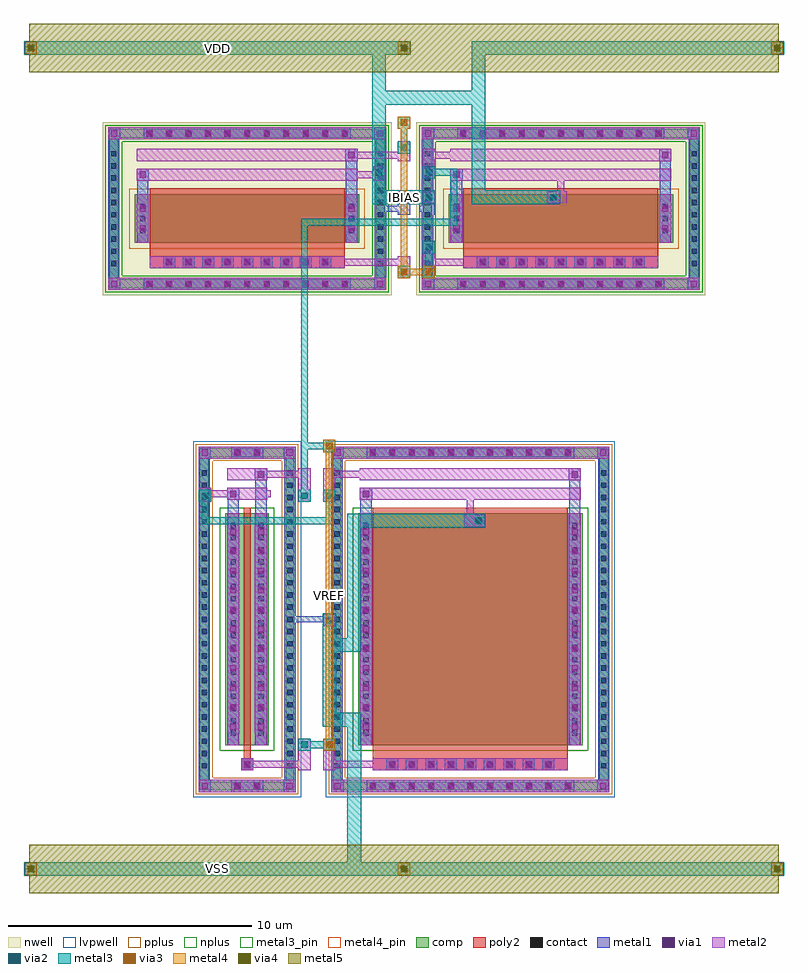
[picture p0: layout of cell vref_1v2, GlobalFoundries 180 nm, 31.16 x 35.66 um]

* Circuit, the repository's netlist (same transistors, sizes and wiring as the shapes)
* NGSPICE file created from vref_1v2.ext - technology: gf180mcuD

.subckt vref_1v2 IBIAS VREF VSS VDD
X0 VREF VREF a_n1464_428# VSS nfet_03v3 ad=7.125p pd=20.5u as=7.125p ps=20.5u w=9.5u l=0.28u
X1 IBIAS IBIAS VDD VDD pfet_03v3 ad=1.2p pd=5.2u as=1.2p ps=5.2u w=2u l=8u
X2 a_n1464_428# VREF VSS VSS nfet_03v3 ad=5.7p pd=20.2u as=5.7p ps=20.2u w=9.5u l=8u
X3 VREF IBIAS VDD VDD pfet_03v3 ad=1.2p pd=5.2u as=1.2p ps=5.2u w=2u l=8u
.ends

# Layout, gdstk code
import gdstk
lib = gdstk.Library(unit=1e-6, precision=1e-09)
def R(c, l, rs):  # rectangles x0, y0, x1, y1
    for r in rs: c.add(gdstk.rectangle(r[:2], r[2:], *l))
def A(c, l, x, y, w, h, nx, ny, dx, dy):  # array of equal rectangles
    R(c, l, [(x+i*dx, y+j*dy, x+i*dx+w, y+j*dy+h) for i in range(nx) for j in range(ny)])
def P(c, l, *ps):  # polygons
    for p in ps: c.add(gdstk.Polygon(p, *l))
nwell = (21, 0)
comp = (22, 0)
poly2 = (30, 0)
pplus = (31, 0)
nplus = (32, 0)
contact = (33, 0)
metal1 = (34, 0)
via1 = (35, 0)
metal2 = (36, 0)
via2 = (38, 0)
via3 = (40, 0)
via4 = (41, 0)
metal3 = (42, 0)
metal3_pin = (42, 10)
metal4 = (46, 0)
metal4_pin = (46, 10)
metal5 = (81, 0)
lvpwell = (204, 0)

vref_1v2 = lib.new_cell('vref_1v2')
R(vref_1v2, nwell, [(-12.36,20.59,-0.5,27.68), (0.5,20.59,12.36,27.68), (-12.2,20.75,-0.66,27.52), (0.66,20.75,12.2,27.52)])
A(vref_1v2, comp, -1.46, 0.28, 0.36, 0.36, 11, 2, 0.8, 13.67)
A(vref_1v2, comp, -8.37, 1.115, 0.36, 0.36, 1, 25, 0, 0.5)
A(vref_1v2, comp, -4.85, 1.115, 0.36, 0.36, 1, 25, 0, 0.5)
A(vref_1v2, comp, -2.93, 1.115, 0.36, 0.36, 1, 25, 0, 0.5)
A(vref_1v2, comp, 8.01, 1.115, 0.36, 0.36, 1, 25, 0, 0.5)
A(vref_1v2, comp, -10.61, 20.87, 0.36, 0.36, 11, 2, 0.8, 6.17)
A(vref_1v2, comp, 2.25, 20.87, 0.36, 0.36, 11, 2, 0.8, 6.17)
A(vref_1v2, comp, -12.08, 21.705, 0.36, 0.36, 1, 10, 0, 0.5)
A(vref_1v2, comp, -1.14, 21.705, 0.36, 0.36, 1, 10, 0, 0.5)
A(vref_1v2, comp, 0.78, 21.705, 0.36, 0.36, 1, 10, 0, 0.5)
A(vref_1v2, comp, 11.72, 21.705, 0.36, 0.36, 1, 10, 0, 0.5)
R(vref_1v2, comp, [(-7.01,0.28,-6.65,0.64), (-7.01,0.28,-5.85,0.64), (-6.21,0.28,-5.85,0.64), (-1.46,0.28,6.9,0.64), (-8.37,1.115,-8.01,13.475), (-4.85,1.115,-4.49,13.475), (-2.93,1.115,-2.57,13.475), (8.01,1.115,8.37,13.475), (-7.32,2.14,-5.54,11.64), (-1.88,2.14,7.32,11.64), (-7.01,13.95,-6.65,14.31), (-7.01,13.95,-5.85,14.31), (-6.21,13.95,-5.85,14.31), (-1.46,13.95,6.9,14.31), (-10.61,20.87,-2.25,21.23), (2.25,20.87,10.61,21.23), (-12.08,21.705,-11.72,26.565), (-1.14,21.705,-0.78,26.565), (0.78,21.705,1.14,26.565), (11.72,21.705,12.08,26.565), (-11.03,22.73,-1.83,24.73), (1.83,22.73,11.03,24.73), (-10.61,27.04,-2.25,27.4), (2.25,27.04,10.61,27.4)])
P(vref_1v2, comp, [(-0.78,27.4),(-12.08,27.4),(-12.08,21.23),(-11.72,21.23),(-11.72,27.04),(-1.14,27.04),(-1.14,21.23),(-11.72,21.23),(-12.08,21.23),(-12.08,20.87),(-0.78,20.87)],
  [(8.37,14.31),(-2.93,14.31),(-2.93,0.64),(-2.57,0.64),(-2.57,13.95),(8.01,13.95),(8.01,0.64),(-2.57,0.64),(-2.93,0.64),(-2.93,0.28),(8.37,0.28)],
  [(-4.49,14.31),(-8.37,14.31),(-8.37,0.64),(-8.01,0.64),(-8.01,13.95),(-4.85,13.95),(-4.85,0.64),(-8.01,0.64),(-8.37,0.64),(-8.37,0.28),(-4.49,0.28)],
  [(12.08,27.4),(0.78,27.4),(0.78,21.23),(1.14,21.23),(1.14,27.04),(11.72,27.04),(11.72,21.23),(1.14,21.23),(0.78,21.23),(0.78,20.87),(12.08,20.87)])
A(vref_1v2, poly2, -0.66, 1.17, 0.36, 0.36, 9, 1, 0.8, 0)
A(vref_1v2, poly2, -9.81, 21.76, 0.36, 0.36, 9, 1, 0.8, 0)
A(vref_1v2, poly2, 3.05, 21.76, 0.36, 0.36, 9, 1, 0.8, 0)
R(vref_1v2, poly2, [(-6.68,1.1,-6.18,1.6), (-1.28,1.1,6.72,1.6), (-6.61,1.17,-6.25,1.53), (-6.57,1.6,-6.29,1.9), (-1.28,1.6,6.72,1.9), (-6.57,1.9,-6.29,11.88), (-1.28,1.9,6.72,11.88), (-10.43,21.69,-2.43,22.19), (2.43,21.69,10.43,22.19), (-10.43,22.19,-2.43,22.49), (2.43,22.19,10.43,22.49), (-10.43,22.49,-2.43,24.97), (2.43,22.49,10.43,24.97)])
R(vref_1v2, pplus, [(-11.26,22.5,-1.6,24.96), (1.6,22.5,11.26,24.96)])
P(vref_1v2, pplus, [(8.53,14.47),(-3.09,14.47),(-3.09,0.8),(-2.41,0.8),(-2.41,13.79),(7.85,13.79),(7.85,0.8),(-2.41,0.8),(-3.09,0.8),(-3.09,0.12),(8.53,0.12)],
  [(-4.33,14.47),(-8.53,14.47),(-8.53,0.8),(-7.85,0.8),(-7.85,13.79),(-5.01,13.79),(-5.01,0.8),(-7.85,0.8),(-8.53,0.8),(-8.53,0.12),(-4.33,0.12)])
R(vref_1v2, nplus, [(-7.55,1.91,-5.31,11.87), (-2.11,1.91,7.55,11.87)])
P(vref_1v2, nplus, [(-0.62,27.56),(-12.24,27.56),(-12.24,21.39),(-11.56,21.39),(-11.56,26.88),(-1.3,26.88),(-1.3,21.39),(-11.56,21.39),(-12.24,21.39),(-12.24,20.71),(-0.62,20.71)],
  [(12.24,27.56),(0.62,27.56),(0.62,21.39),(1.3,21.39),(1.3,26.88),(11.56,26.88),(11.56,21.39),(1.3,21.39),(0.62,21.39),(0.62,20.71),(12.24,20.71)])
A(vref_1v2, contact, -1.39, 0.35, 0.22, 0.22, 11, 2, 0.8, 13.67)
A(vref_1v2, contact, -8.3, 1.185, 0.22, 0.22, 1, 25, 0, 0.5)
A(vref_1v2, contact, -4.78, 1.185, 0.22, 0.22, 1, 25, 0, 0.5)
A(vref_1v2, contact, -2.86, 1.185, 0.22, 0.22, 1, 25, 0, 0.5)
A(vref_1v2, contact, 8.08, 1.185, 0.22, 0.22, 1, 25, 0, 0.5)
A(vref_1v2, contact, -0.59, 1.24, 0.22, 0.22, 9, 1, 0.8, 0)
A(vref_1v2, contact, -7.11, 2.53, 0.22, 0.22, 1, 18, 0, 0.5)
A(vref_1v2, contact, -5.97, 2.53, 0.22, 0.22, 1, 18, 0, 0.5)
A(vref_1v2, contact, -1.67, 2.53, 0.22, 0.22, 1, 18, 0, 0.5)
A(vref_1v2, contact, 6.89, 2.53, 0.22, 0.22, 1, 18, 0, 0.5)
A(vref_1v2, contact, -10.54, 20.94, 0.22, 0.22, 11, 2, 0.8, 6.17)
A(vref_1v2, contact, 2.32, 20.94, 0.22, 0.22, 11, 2, 0.8, 6.17)
A(vref_1v2, contact, -12.01, 21.775, 0.22, 0.22, 1, 10, 0, 0.5)
A(vref_1v2, contact, -1.07, 21.775, 0.22, 0.22, 1, 10, 0, 0.5)
A(vref_1v2, contact, 0.85, 21.775, 0.22, 0.22, 1, 10, 0, 0.5)
A(vref_1v2, contact, 11.79, 21.775, 0.22, 0.22, 1, 10, 0, 0.5)
A(vref_1v2, contact, -9.74, 21.83, 0.22, 0.22, 9, 1, 0.8, 0)
A(vref_1v2, contact, 3.12, 21.83, 0.22, 0.22, 9, 1, 0.8, 0)
A(vref_1v2, contact, -10.82, 23.12, 0.22, 0.22, 1, 3, 0, 0.5)
A(vref_1v2, contact, -2.26, 23.12, 0.22, 0.22, 1, 3, 0, 0.5)
A(vref_1v2, contact, 2.04, 23.12, 0.22, 0.22, 1, 3, 0, 0.5)
A(vref_1v2, contact, 10.6, 23.12, 0.22, 0.22, 1, 3, 0, 0.5)
R(vref_1v2, contact, [(-6.94,0.35,-6.72,0.57), (-6.14,0.35,-5.92,0.57), (-6.54,1.24,-6.32,1.46), (-6.94,14.02,-6.72,14.24), (-6.14,14.02,-5.92,14.24)])
A(vref_1v2, metal1, -1.53, 0.21, 0.5, 0.5, 11, 2, 0.8, 13.67)
A(vref_1v2, metal1, -8.42, 1.065, 0.46, 0.46, 1, 25, 0, 0.5)
A(vref_1v2, metal1, -4.9, 1.065, 0.46, 0.46, 1, 25, 0, 0.5)
A(vref_1v2, metal1, -2.98, 1.065, 0.46, 0.46, 1, 25, 0, 0.5)
A(vref_1v2, metal1, 7.96, 1.065, 0.46, 0.46, 1, 25, 0, 0.5)
A(vref_1v2, metal1, -0.73, 1.1, 0.5, 0.5, 9, 1, 0.8, 0)
A(vref_1v2, metal1, -7.23, 2.41, 0.46, 0.46, 1, 18, 0, 0.5)
A(vref_1v2, metal1, -6.09, 2.41, 0.46, 0.46, 1, 18, 0, 0.5)
A(vref_1v2, metal1, -1.79, 2.41, 0.46, 0.46, 1, 18, 0, 0.5)
A(vref_1v2, metal1, 6.77, 2.41, 0.46, 0.46, 1, 18, 0, 0.5)
A(vref_1v2, metal1, -7.25, 2.64, 0.5, 0.5, 1, 11, 0, 0.8)
A(vref_1v2, metal1, -6.11, 2.64, 0.5, 0.5, 1, 11, 0, 0.8)
A(vref_1v2, metal1, -1.81, 2.64, 0.5, 0.5, 1, 11, 0, 0.8)
A(vref_1v2, metal1, 6.75, 2.64, 0.5, 0.5, 1, 11, 0, 0.8)
A(vref_1v2, metal1, -10.68, 20.8, 0.5, 0.5, 11, 2, 0.8, 6.17)
A(vref_1v2, metal1, 2.18, 20.8, 0.5, 0.5, 11, 2, 0.8, 6.17)
A(vref_1v2, metal1, -12.13, 21.655, 0.46, 0.46, 1, 10, 0, 0.5)
A(vref_1v2, metal1, -1.19, 21.655, 0.46, 0.46, 1, 10, 0, 0.5)
A(vref_1v2, metal1, 0.73, 21.655, 0.46, 0.46, 1, 10, 0, 0.5)
A(vref_1v2, metal1, 11.67, 21.655, 0.46, 0.46, 1, 10, 0, 0.5)
A(vref_1v2, metal1, -9.88, 21.69, 0.5, 0.5, 9, 1, 0.8, 0)
A(vref_1v2, metal1, 2.98, 21.69, 0.5, 0.5, 9, 1, 0.8, 0)
A(vref_1v2, metal1, -10.94, 23, 0.46, 0.46, 1, 3, 0, 0.5)
A(vref_1v2, metal1, -2.38, 23, 0.46, 0.46, 1, 3, 0, 0.5)
A(vref_1v2, metal1, 1.92, 23, 0.46, 0.46, 1, 3, 0, 0.5)
A(vref_1v2, metal1, 10.48, 23, 0.46, 0.46, 1, 3, 0, 0.5)
R(vref_1v2, metal1, [(-8.42,0.21,-7.92,0.71), (-8.42,0.21,-7.92,0.71), (-8.42,0.21,-7.96,0.64), (-7.08,0.21,-6.58,0.71), (-7.08,0.21,-5.78,0.71), (-6.28,0.21,-5.78,0.71), (-4.94,0.21,-4.44,0.71), (-4.94,0.21,-4.44,0.71), (-4.9,0.21,-4.44,0.64), (-2.98,0.21,-2.48,0.71), (-2.98,0.21,-2.48,0.71), (-2.98,0.21,-2.52,0.64), (-1.53,0.21,6.97,0.71), (7.92,0.21,8.42,0.71), (7.92,0.21,8.42,0.71), (7.96,0.21,8.42,0.64), (-8.42,0.64,-7.96,13.95), (-4.9,0.64,-4.44,13.95), (-2.98,0.64,-2.52,13.95), (7.96,0.64,8.42,13.95), (-6.68,1.1,-6.18,1.6), (-7.23,2.14,-6.77,11.64), (-6.09,2.14,-5.63,11.64), (-1.79,2.14,-1.33,11.64), (6.77,2.14,7.23,11.64), (-7.25,2.64,-6.75,11.14), (-6.11,2.64,-5.61,11.14), (-1.81,2.64,-1.31,11.14), (6.75,2.64,7.25,11.14), (-3.31,7.01,-2.81,7.55), (-3.31,7.01,-2.81,7.55), (-3.31,7.01,-2.81,7.55), (-3.31,7.01,-2.81,7.55), (-3.31,7.01,-2.81,7.51), (-4.555,7.025,-4.44,7.185), (-4.555,7.025,-4.44,7.185), (-2.98,7.025,-2.865,7.185), (-2.98,7.025,-2.865,7.185), (-2.98,7.025,-2.945,7.185), (-2.98,7.025,-2.945,7.185), (-4.555,7.185,-2.945,7.415), (-4.555,7.185,-2.945,7.415), (-3.175,7.185,-2.865,7.415), (-3.175,7.185,-2.865,7.415), (-4.555,7.415,-4.44,7.565), (-4.555,7.415,-4.44,7.565), (-2.98,7.415,-2.865,7.565), (-2.98,7.415,-2.865,7.565), (-2.98,7.415,-2.945,7.565), (-2.98,7.415,-2.945,7.565), (-2.98,7.55,-2.81,7.565), (-2.98,7.55,-2.81,7.565), (-2.98,7.55,-2.81,7.565), (-2.98,7.55,-2.81,7.565), (-7.23,11.64,-6.77,12.69), (-6.09,11.64,-5.63,13.49), (-1.79,11.64,-1.33,12.69), (6.77,11.64,7.23,13.49), (-7.25,12.19,-6.75,12.69), (-1.81,12.19,-1.31,12.69), (-6.11,12.99,-5.61,13.49), (6.75,12.99,7.25,13.49), (-8.42,13.88,-7.92,14.38), (-8.42,13.88,-7.92,14.38), (-7.08,13.88,-6.58,14.38), (-7.08,13.88,-5.78,14.38), (-6.28,13.88,-5.78,14.38), (-4.94,13.88,-4.44,14.38), (-4.94,13.88,-4.44,14.38), (-2.98,13.88,-2.48,14.38), (-2.98,13.88,-2.48,14.38), (-1.53,13.88,6.97,14.38), (7.92,13.88,8.42,14.38), (7.92,13.88,8.42,14.38), (-8.42,13.95,-7.96,14.38), (-4.9,13.95,-4.44,14.38), (-2.98,13.95,-2.52,14.38), (7.96,13.95,8.42,14.38), (-12.13,20.8,-11.63,21.3), (-12.13,20.8,-11.63,21.3), (-12.13,20.8,-11.67,21.23), (-10.68,20.8,-2.18,21.3), (-1.23,20.8,-0.73,21.3), (-1.23,20.8,-0.73,21.3), (-1.19,20.8,-0.73,21.23), (0.73,20.8,1.23,21.3), (0.73,20.8,1.23,21.3), (0.73,20.8,1.19,21.23), (2.18,20.8,10.68,21.3), (11.63,20.8,12.13,21.3), (11.63,20.8,12.13,21.3), (11.67,20.8,12.13,21.23), (-12.13,21.23,-11.67,27.04), (-1.19,21.23,-0.73,27.04), (0.73,21.23,1.19,27.04), (11.67,21.23,12.13,27.04), (-10.94,22.73,-10.48,24.73), (-2.38,22.73,-1.92,24.73), (1.92,22.73,2.38,24.73), (10.48,22.73,10.94,24.73), (-10.96,23.08,-10.46,23.58), (-10.96,23.08,-10.46,24.38), (-2.4,23.08,-1.9,23.58), (-2.4,23.08,-1.9,24.38), (1.9,23.08,2.4,23.58), (1.9,23.08,2.4,24.38), (10.46,23.08,10.96,23.58), (10.46,23.08,10.96,24.38), (0.77,23.615,1.19,23.88), (-10.96,23.88,-10.46,24.38), (-2.4,23.88,-1.9,24.38), (-0.25,23.88,0.25,24.85), (0.77,23.88,1.27,24.85), (1.9,23.88,2.4,24.38), (10.46,23.88,10.96,24.38), (-0.845,24.015,0.115,24.245), (0.615,24.015,1.135,24.245), (-0.25,24.35,0.25,24.85), (0.77,24.35,1.27,24.85), (-10.94,24.73,-10.48,25.78), (-2.38,24.73,-1.92,26.58), (1.92,24.73,2.38,25.78), (10.48,24.73,10.94,26.58), (-10.96,25.28,-10.46,25.78), (1.9,25.28,2.4,25.78), (-2.4,26.08,-1.9,26.58), (10.46,26.08,10.96,26.58), (-12.13,26.97,-11.63,27.47), (-12.13,26.97,-11.63,27.47), (-10.68,26.97,-2.18,27.47), (-1.23,26.97,-0.73,27.47), (-1.23,26.97,-0.73,27.47), (0.73,26.97,1.23,27.47), (0.73,26.97,1.23,27.47), (2.18,26.97,10.68,27.47), (11.63,26.97,12.13,27.47), (11.63,26.97,12.13,27.47), (-12.13,27.04,-11.67,27.47), (-1.19,27.04,-0.73,27.47), (0.73,27.04,1.19,27.47), (11.67,27.04,12.13,27.47)])
A(vref_1v2, via1, -1.41, 0.33, 0.26, 0.26, 11, 2, 0.8, 13.67)
A(vref_1v2, via1, -0.61, 1.22, 0.26, 0.26, 9, 1, 0.8, 0)
A(vref_1v2, via1, -7.13, 2.76, 0.26, 0.26, 1, 11, 0, 0.8)
A(vref_1v2, via1, -5.99, 2.76, 0.26, 0.26, 1, 11, 0, 0.8)
A(vref_1v2, via1, -1.69, 2.76, 0.26, 0.26, 1, 11, 0, 0.8)
A(vref_1v2, via1, 6.87, 2.76, 0.26, 0.26, 1, 11, 0, 0.8)
A(vref_1v2, via1, -10.56, 20.92, 0.26, 0.26, 11, 2, 0.8, 6.17)
A(vref_1v2, via1, 2.3, 20.92, 0.26, 0.26, 11, 2, 0.8, 6.17)
A(vref_1v2, via1, -9.76, 21.81, 0.26, 0.26, 9, 1, 0.8, 0)
A(vref_1v2, via1, 3.1, 21.81, 0.26, 0.26, 9, 1, 0.8, 0)
R(vref_1v2, via1, [(-8.3,0.33,-8.04,0.59), (-6.96,0.33,-6.7,0.59), (-6.16,0.33,-5.9,0.59), (-4.82,0.33,-4.56,0.59), (-2.86,0.33,-2.6,0.59), (8.04,0.33,8.3,0.59), (-6.56,1.22,-6.3,1.48), (-3.19,7.13,-2.93,7.39), (-7.13,12.31,-6.87,12.57), (-1.69,12.31,-1.43,12.57), (-5.99,13.11,-5.73,13.37), (6.87,13.11,7.13,13.37), (-8.3,14,-8.04,14.26), (-6.96,14,-6.7,14.26), (-6.16,14,-5.9,14.26), (-4.82,14,-4.56,14.26), (-2.86,14,-2.6,14.26), (8.04,14,8.3,14.26), (-12.01,20.92,-11.75,21.18), (-1.11,20.92,-0.85,21.18), (0.85,20.92,1.11,21.18), (11.75,20.92,12.01,21.18), (-10.84,23.2,-10.58,23.46), (-2.28,23.2,-2.02,23.46), (2.02,23.2,2.28,23.46), (10.58,23.2,10.84,23.46), (-10.84,24,-10.58,24.26), (-2.28,24,-2.02,24.26), (2.02,24,2.28,24.26), (10.58,24,10.84,24.26), (-0.13,24.47,0.13,24.73), (0.89,24.47,1.15,24.73), (-10.84,25.4,-10.58,25.66), (2.02,25.4,2.28,25.66), (-2.28,26.2,-2.02,26.46), (10.58,26.2,10.84,26.46), (-12.01,27.09,-11.75,27.35), (-1.11,27.09,-0.85,27.35), (0.85,27.09,1.11,27.35), (11.75,27.09,12.01,27.35)])
A(vref_1v2, metal2, -1.53, 0.21, 0.5, 0.5, 11, 2, 0.8, 13.67)
A(vref_1v2, metal2, -0.73, 1.1, 0.5, 0.5, 9, 1, 0.8, 0)
A(vref_1v2, metal2, -3.31, 1.91, 0.5, 0.5, 1, 3, 0, 5.1)
A(vref_1v2, metal2, -7.25, 2.64, 0.5, 0.5, 1, 11, 0, 0.8)
A(vref_1v2, metal2, -6.11, 2.64, 0.5, 0.5, 1, 11, 0, 0.8)
A(vref_1v2, metal2, -1.81, 2.64, 0.5, 0.5, 1, 11, 0, 0.8)
A(vref_1v2, metal2, 6.75, 2.64, 0.5, 0.5, 1, 11, 0, 0.8)
A(vref_1v2, metal2, -10.68, 20.8, 0.5, 0.5, 11, 2, 0.8, 6.17)
A(vref_1v2, metal2, 2.18, 20.8, 0.5, 0.5, 11, 2, 0.8, 6.17)
A(vref_1v2, metal2, -9.88, 21.69, 0.5, 0.5, 9, 1, 0.8, 0)
A(vref_1v2, metal2, 2.98, 21.69, 0.5, 0.5, 9, 1, 0.8, 0)
R(vref_1v2, metal2, [(-8.42,0.21,-7.92,0.71), (-8.42,0.21,-7.92,0.71), (-8.42,0.21,-8.01,0.71), (-8.01,0.21,-4.85,0.71), (-7.08,0.21,-6.58,0.71), (-6.28,0.21,-5.78,0.71), (-4.94,0.21,-4.44,0.71), (-4.94,0.21,-4.44,0.71), (-4.85,0.21,-4.44,0.71), (-2.98,0.21,-2.48,0.71), (-2.98,0.21,-2.48,0.71), (-2.98,0.21,-2.57,0.71), (-2.57,0.21,8.01,0.71), (7.92,0.21,8.42,0.71), (7.92,0.21,8.42,0.71), (8.01,0.21,8.42,0.71), (-6.68,1.1,-6.18,1.6), (-6.68,1.1,-6.18,1.6), (-4.33,1.1,-3.83,2.41), (-3.31,1.1,-2.81,2.41), (-1.28,1.1,6.72,1.6), (-6.32,1.21,-3.94,1.49), (-3.2,1.21,-1.14,1.49), (-4.33,1.91,-3.83,2.41), (-7.25,2.14,-6.75,11.64), (-6.11,2.14,-5.61,11.64), (-1.81,2.14,-1.31,11.64), (6.75,2.14,7.25,11.64), (2.47,11.09,3.31,11.59), (2.81,11.09,3.31,11.59), (2.58,11.2,2.86,12.33), (-8.41,12.11,-7.91,12.69), (-8.41,12.11,-7.91,12.61), (-4.33,12.11,-3.83,13.49), (-4.33,12.11,-3.83,12.61), (-3.31,12.11,-2.81,13.49), (-7.25,12.19,-6.75,12.69), (-7.25,12.19,-5.61,12.69), (-1.81,12.19,-1.31,12.69), (-1.81,12.19,7.25,12.69), (-8.3,12.3,-5.47,12.58), (-7.25,12.99,-5.61,13.49), (-6.11,12.99,-5.61,13.49), (-1.81,12.99,7.25,13.49), (6.75,12.99,7.25,13.49), (-5.75,13.1,-3.94,13.38), (-3.2,13.1,-1.67,13.38), (-8.42,13.88,-7.92,14.38), (-8.42,13.88,-7.92,14.38), (-8.42,13.88,-8.01,14.38), (-8.01,13.88,-4.85,14.38), (-7.08,13.88,-6.58,14.38), (-6.28,13.88,-5.78,14.38), (-4.94,13.88,-4.44,14.38), (-4.94,13.88,-4.44,14.38), (-4.85,13.88,-4.44,14.38), (-2.98,13.88,-2.48,14.38), (-2.98,13.88,-2.48,14.38), (-2.98,13.88,-2.57,14.38), (-2.57,13.88,8.01,14.38), (7.92,13.88,8.42,14.38), (7.92,13.88,8.42,14.38), (8.01,13.88,8.42,14.38), (-12.13,20.8,-11.63,21.3), (-12.13,20.8,-11.63,21.3), (-12.13,20.8,-11.72,21.3), (-11.72,20.8,-1.14,21.3), (-1.23,20.8,-0.73,21.3), (-1.23,20.8,-0.73,21.3), (-1.14,20.8,-0.73,21.3), (0.73,20.8,1.23,21.3), (0.73,20.8,1.23,21.3), (0.73,20.8,1.14,21.3), (1.14,20.8,11.72,21.3), (11.63,20.8,12.13,21.3), (11.63,20.8,12.13,21.3), (11.72,20.8,12.13,21.3), (-0.25,21.29,0.25,22.19), (-0.25,21.29,0.25,21.79), (-10.43,21.69,-2.43,22.19), (0.77,21.69,1.27,22.81), (2.43,21.69,10.43,22.19), (-2.57,21.8,0.14,22.08), (0.88,21.8,2.57,22.08), (0.77,22.31,1.27,22.81), (-10.96,22.73,-10.46,24.73), (-2.4,22.73,-1.9,24.73), (1.9,22.73,2.4,24.73), (10.46,22.73,10.96,24.73), (-10.96,23.08,-10.46,23.58), (-2.4,23.08,-1.9,23.58), (1.9,23.08,2.4,23.58), (10.46,23.08,10.96,23.58), (-10.96,23.88,-10.46,24.38), (-2.4,23.88,-1.9,24.38), (1.9,23.88,2.4,24.38), (10.46,23.88,10.96,24.38), (-0.25,24.35,0.25,24.85), (0.77,24.35,1.27,24.85), (5.87,24.35,6.68,24.85), (5.87,24.35,6.37,24.85), (6.29,24.46,6.57,25.42), (-10.96,25.28,-10.46,25.78), (-10.96,25.28,-1.9,25.78), (-1.27,25.28,-0.77,25.87), (1.9,25.28,2.4,25.78), (1.9,25.28,10.96,25.78), (-1.27,25.37,-0.77,25.87), (0.77,25.37,1.27,26.58), (0.77,25.37,1.27,25.87), (-2.04,25.39,-0.88,25.67), (-10.96,26.08,-1.9,26.58), (-2.4,26.08,-1.9,26.58), (-0.25,26.08,0.25,26.89), (1.9,26.08,10.96,26.58), (10.46,26.08,10.96,26.58), (-2.04,26.19,0.14,26.47), (0.88,26.19,2.04,26.47), (-0.25,26.39,0.25,26.89), (-12.13,26.97,-11.63,27.47), (-12.13,26.97,-11.63,27.47), (-12.13,26.97,-11.72,27.47), (-11.72,26.97,-1.14,27.47), (-1.23,26.97,-0.73,27.47), (-1.23,26.97,-0.73,27.47), (-1.14,26.97,-0.73,27.47), (0.73,26.97,1.23,27.47), (0.73,26.97,1.23,27.47), (0.73,26.97,1.14,27.47), (1.14,26.97,11.72,27.47), (11.63,26.97,12.13,27.47), (11.63,26.97,12.13,27.47), (11.72,26.97,12.13,27.47)])
A(vref_1v2, via2, -3.19, 2.03, 0.26, 0.26, 1, 3, 0, 5.1)
R(vref_1v2, via2, [(-4.21,2.03,-3.95,2.29), (2.93,11.21,3.19,11.47), (-8.29,12.23,-8.03,12.49), (-4.21,12.23,-3.95,12.49), (-0.13,21.41,0.13,21.67), (0.89,22.43,1.15,22.69), (-0.13,24.47,0.13,24.73), (0.89,24.47,1.15,24.73), (5.99,24.47,6.25,24.73), (-1.15,25.49,-0.89,25.75), (0.89,25.49,1.15,25.75), (-0.13,26.51,0.13,26.77)])
A(vref_1v2, via3, -15.43, -3.07, 0.26, 0.26, 3, 2, 15.3, 33.66)
R(vref_1v2, via3, [(-3.19,2.03,-2.93,2.29), (-3.19,14.27,-2.93,14.53), (-0.13,21.41,0.13,21.67), (0.89,21.41,1.15,21.67), (-0.13,27.53,0.13,27.79)])
A(vref_1v2, via4, -15.43, -3.07, 0.26, 0.26, 3, 2, 15.3, 33.66)
A(vref_1v2, metal3, -15.55, -3.19, 0.5, 0.5, 3, 2, 15.3, 33.66)
A(vref_1v2, metal3, -3.31, 1.91, 0.5, 0.5, 1, 3, 0, 5.1)
R(vref_1v2, metal3, [(-15.58,-3.22,0.28,-2.66), (-2.32,-3.22,-1.76,3.46), (-0.28,-3.22,15.58,-2.66), (-4.33,1.91,-3.83,2.41), (-3.31,1.91,-2.81,2.41), (-4.22,2.02,-2.92,2.3), (-3.34,2.9,-1.76,3.46), (-3.34,2.9,-2.78,7.54), (-3.34,5.96,-1.76,6.52), (-2.32,5.96,-1.76,11.62), (-2.32,11.06,3.34,11.62), (2.81,11.09,3.31,11.59), (-8.3,11.2,-8.02,12.5), (-8.3,11.2,-2.92,11.48), (-3.2,11.2,-2.92,12.5), (-8.41,12.11,-7.91,12.61), (-4.33,12.11,-3.83,12.61), (-4.22,12.22,-3.94,23.72), (-3.31,14.15,-2.81,14.65), (-4.22,14.26,-2.92,14.54), (-0.25,21.29,0.25,21.79), (-0.25,21.29,0.25,21.79), (0.77,21.29,1.27,21.79), (0.88,21.4,1.16,22.7), (0.77,22.31,1.27,22.81), (-4.22,23.44,2.18,23.72), (1.9,23.44,2.18,25.76), (-1.3,24.32,0.28,24.88), (-1.3,24.32,-0.74,25.9), (-0.28,24.32,1.3,24.88), (2.78,24.32,6.4,24.88), (2.78,24.32,3.34,28.96), (-0.25,24.35,0.25,24.85), (0.77,24.35,1.27,24.85), (5.87,24.35,6.37,24.85), (-1.3,25.34,-0.74,31), (-1.27,25.37,-0.77,25.87), (0.77,25.37,1.27,25.87), (0.88,25.48,2.18,25.76), (-0.25,26.39,0.25,26.89), (-0.14,26.5,0.14,27.8), (-0.25,27.41,0.25,27.91), (-1.3,28.4,3.34,28.96), (2.78,28.4,3.34,31), (-15.58,30.44,0.28,31), (2.78,30.44,15.58,31)])
R(vref_1v2, metal3_pin, [(-7.93,-3.22,-7.37,-2.66), (-7.93,30.44,-7.37,31)])
A(vref_1v2, metal4, -15.55, -3.19, 0.5, 0.5, 3, 2, 15.3, 33.66)
R(vref_1v2, metal4, [(-3.31,1.91,-2.81,2.41), (-3.2,2.02,-2.92,14.54), (-3.31,14.15,-2.81,14.65), (-0.25,21.29,0.25,21.79), (0.77,21.29,1.27,21.79), (-0.14,21.4,0.14,27.8), (-0.14,21.4,1.16,21.68), (-0.25,27.41,0.25,27.91)])
R(vref_1v2, metal4_pin, [(-3.2,8.14,-2.92,8.42), (-0.14,24.46,0.14,24.74)])
A(vref_1v2, metal5, -15.55, -3.19, 0.5, 0.5, 3, 2, 15.3, 33.66)
R(vref_1v2, metal5, [(-15.36,-3.94,15.36,-1.94), (-15.36,29.72,15.36,31.72)])
R(vref_1v2, lvpwell, [(-8.65,0,-4.21,14.59), (-3.21,0,8.65,14.59)])
vref_1v2.add(gdstk.Label('IBIAS', (0,24.6), layer=46, texttype=10))
vref_1v2.add(gdstk.Label('VREF', (-3.06,8.28), layer=46, texttype=10))
vref_1v2.add(gdstk.Label('VSS', (-7.65,-2.94), layer=42, texttype=10))
vref_1v2.add(gdstk.Label('VDD', (-7.65,30.72), layer=42, texttype=10))

lib.write_gds('vref_1v2.gds')
